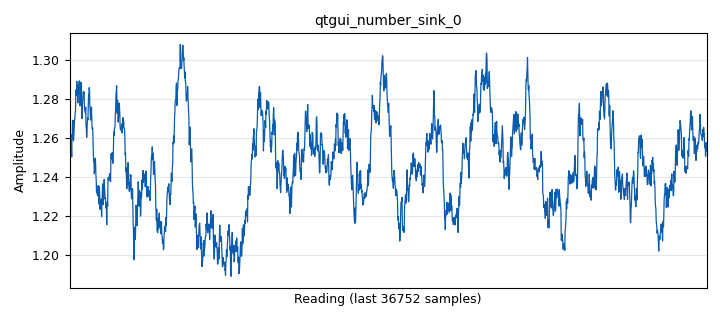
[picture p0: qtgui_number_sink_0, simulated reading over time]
options:
  parameters:
    author: maity
    generate_options: qt_gui
    id: untitled
    output_language: python
    title: Not titled yet
  states: {}

blocks:
- name: samp_rate
  id: variable
  parameters:
    value: '3200'
  states: {}
- name: analog_sig_source_x_0
  id: analog_sig_source_x
  parameters:
    amp: '1'
    freq: '1000'
    offset: '0'
    phase: '0'
    samp_rate: samp_rate
    type: complex
    waveform: analog.GR_COS_WAVE
  states: {}
- name: blocks_complex_to_mag_squared_0
  id: blocks_complex_to_mag_squared
  parameters: {}
  states: {}
- name: blocks_moving_average_xx_0
  id: blocks_moving_average_xx
  parameters:
    length: '1000'
    max_iter: '4000'
    scale: '0.001'
    type: float
  states: {}
- name: blocks_throttle2_0
  id: blocks_throttle2
  parameters:
    samples_per_second: samp_rate
    type: complex
  states: {}
- name: channels_channel_model_0
  id: channels_channel_model
  parameters:
    epsilon: '1.0'
    freq_offset: '0.1'
    noise_voltage: '0.5'
    seed: '0'
    taps: '1.0'
  states: {}
- name: qtgui_number_sink_0
  id: qtgui_number_sink
  parameters:
    graph_type: qtgui.NUM_GRAPH_HORIZ
    type: float
  states: {}

connections:
- [analog_sig_source_x_0, '0', blocks_throttle2_0, '0']
- [blocks_complex_to_mag_squared_0, '0', blocks_moving_average_xx_0, '0']
- [blocks_moving_average_xx_0, '0', qtgui_number_sink_0, '0']
- [blocks_throttle2_0, '0', channels_channel_model_0, '0']
- [channels_channel_model_0, '0', blocks_complex_to_mag_squared_0, '0']

metadata:
  file_format: 1
  grc_version: 3.10.12.0
